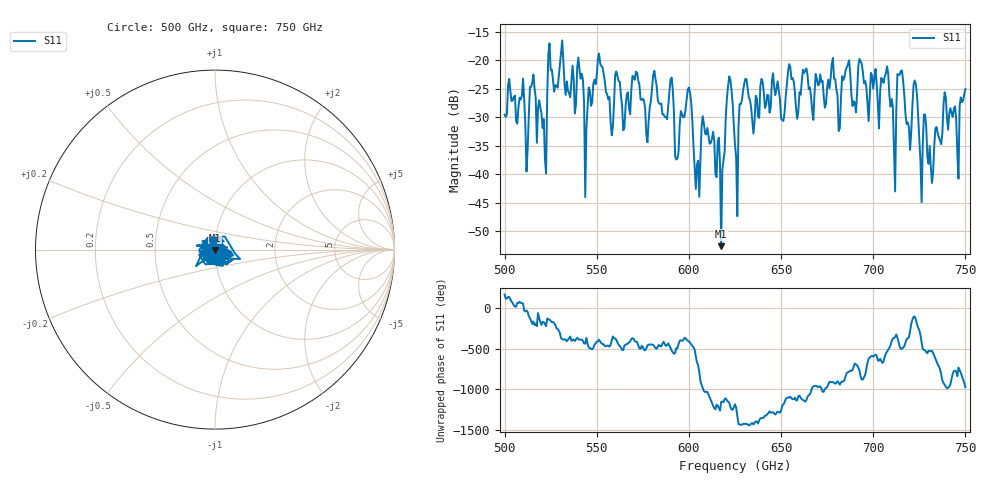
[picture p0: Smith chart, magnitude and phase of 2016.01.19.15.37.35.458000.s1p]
!Created with skrf (http://scikit-rf.org).
# GHz S RI R 50.0
!freq ReS11 ImS11
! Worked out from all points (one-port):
!   401 points, 500 GHz to 750 GHz, reference 50 ohm
!   lowest |S11| = -52.6 dB at 617.5 GHz (marker M1), VSWR 1.00, Z = 50 - j0.23 ohm
!   |S11| at or under -10 dB: start of sweep to end of sweep
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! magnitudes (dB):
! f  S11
! 500 GHz  -29.5
! 511.9 GHz  -39.5
! 515 GHz  -24.0
! 521.2 GHz  -30.3
! 524.4 GHz  -17.0
! 531.2 GHz  -16.5
! 544.4 GHz  -31.9
! 551.9 GHz  -20.6
! 557.5 GHz  -30.8
! 562.5 GHz  -23.8
! 590.6 GHz  -23.0
! 593.8 GHz  -37.2
! 600 GHz  -24.8
! 604.4 GHz  -38.3
! 608.1 GHz  -31.1
! 617.5 GHz  -52.6
! 621.9 GHz  -22.8
! 625 GHz  -34.8
! 630.6 GHz  -23.2
! 656.2 GHz  -23.1
! 687.5 GHz  -22.2
! 706.9 GHz  -22.3
! 711.2 GHz  -35.6
! 714.4 GHz  -22.5
! 718.8 GHz  -30.9
! 722.5 GHz  -23.5
! 731.2 GHz  -38.7
! 750 GHz  -25.0
